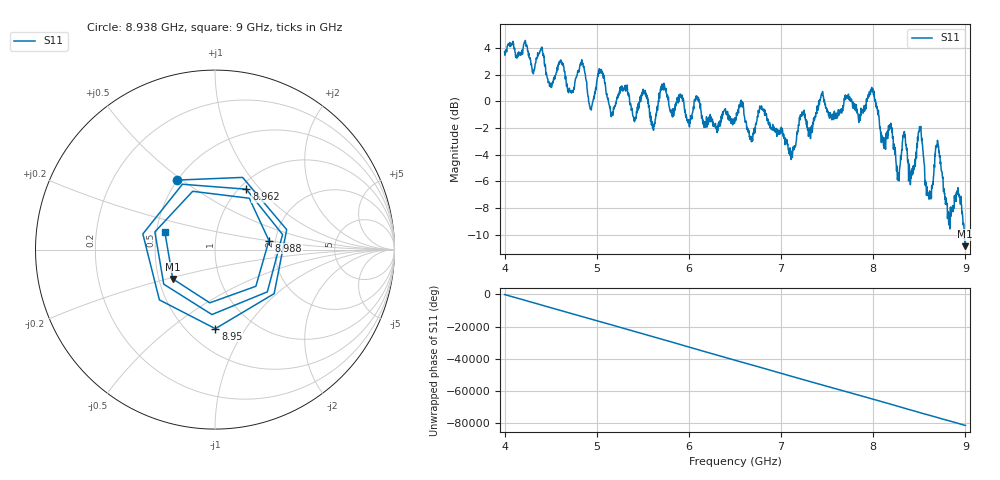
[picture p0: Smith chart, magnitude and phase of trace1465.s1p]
! Created with skrf 1.8.0 (http://scikit-rf.org).
# Hz S RI R 50.0
!freq ReS11 ImS11
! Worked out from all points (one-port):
!   1601 points, 4 GHz to 9 GHz, reference 50 ohm
!   lowest |S11| = -10.9 dB at 8.997 GHz (marker M1), VSWR 1.80, Z = 29.6 - j10.5 ohm
!   |S11| at or under -10 dB: 8.986784 GHz to end of sweep
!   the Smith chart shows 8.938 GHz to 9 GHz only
!   S11 on the Smith chart (normalised r, x): 8.938 GHz: 0.50, +0.48; 8.95 GHz: 0.68, -0.74; 8.962 GHz: 1.08, +0.85; 8.988 GHz: 1.84, +0.20; 9 GHz: 0.55, +0.12
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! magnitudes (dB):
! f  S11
! 4 GHz  3.7
! 4.625 GHz  2.9
! 4.719 GHz  0.7
! 4.844 GHz  2.8
! 4.934 GHz  -0.5
! 5.038 GHz  2.4
! 5.153 GHz  -0.9
! 5.25 GHz  0.6
! 5.609 GHz  -1.7
! 5.712 GHz  1.1
! 5.875 GHz  0.2
! 6.5 GHz  -1.2
! 7.125 GHz  -3.8
! 7.225 GHz  -1.1
! 7.75 GHz  0.2
! 7.988 GHz  0.7
! 8.269 GHz  -5.9
! 8.375 GHz  -4.6
! 8.506 GHz  -2.1
! 8.603 GHz  -7.3
! 8.694 GHz  -3.2
! 8.822 GHz  -8.6
! 8.938 GHz  -7.1
! 8.95 GHz  -7.1
! 8.962 GHz  -8.4
! 8.988 GHz  -10.3
! 8.997 GHz  -10.9
! 9 GHz  -10.6
